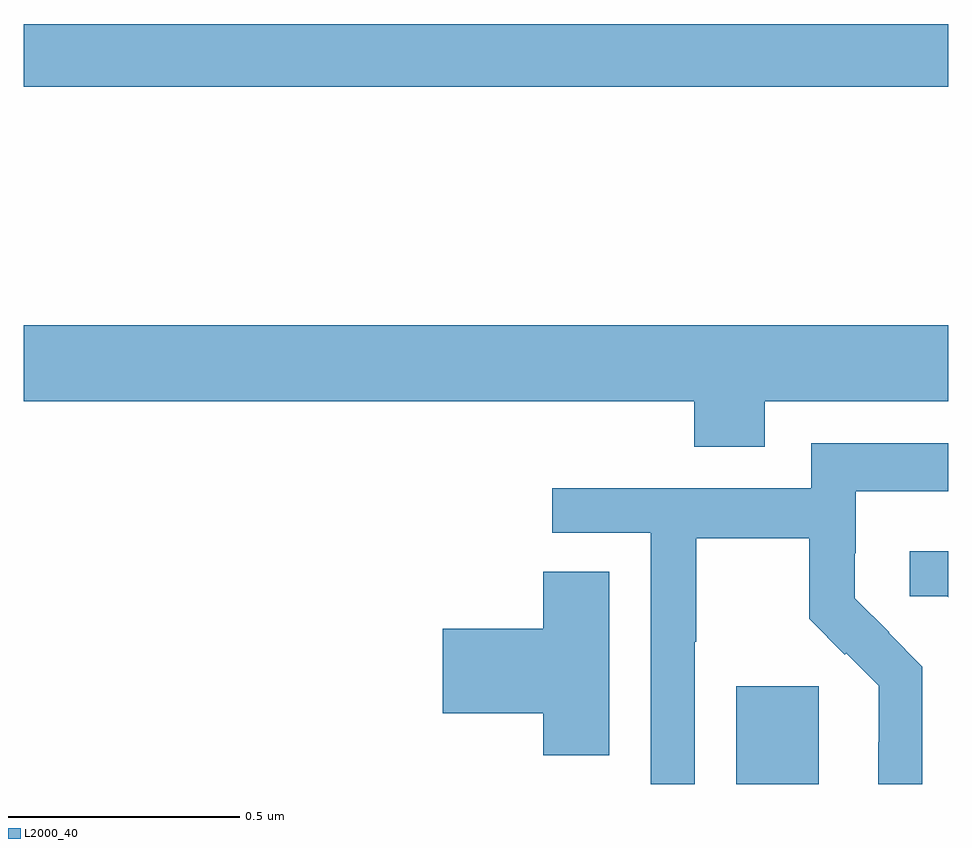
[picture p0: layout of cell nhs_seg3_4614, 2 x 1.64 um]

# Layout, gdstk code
import gdstk
lib = gdstk.Library(unit=1e-6, precision=1e-09)
def R(c, l, rs):  # rectangles x0, y0, x1, y1
    for r in rs: c.add(gdstk.rectangle(r[:2], r[2:], *l))
def P(c, l, *ps):  # polygons
    for p in ps: c.add(gdstk.Polygon(p, *l))
L2000_40 = (2000, 40)

nhs_seg3_4614 = lib.new_cell('nhs_seg3_4614')
R(nhs_seg3_4614, L2000_40, [(169.541,721.4,169.72,721.611), (168,722.908,170,723.044)])
P(nhs_seg3_4614, L2000_40, [(169.603,722.228),(170,722.228),(170,722.392),(168,722.392),(168,722.228),(169.451,722.228),(169.451,722.129),(169.603,722.129)],
  [(169.452,721.708),(169.455,721.708),(169.455,721.932),(169.699,721.932),(169.699,721.757),(169.776,721.68),(169.779,721.683),(169.85,721.613),(169.85,721.49),(169.848,721.49),(169.848,721.4),(169.944,721.4),(169.944,721.654),(169.871,721.727),(169.872,721.728),(169.798,721.802),(169.798,721.899),(169.8,721.899),(169.8,722.033),(170,722.033),(170,722.137),(169.704,722.137),(169.704,722.04),(169.143,722.04),(169.143,721.944),(169.356,721.944),(169.356,721.4),(169.452,721.4)],
  [(170,721.903),(169.917,721.903),(169.917,721.806),(169.998,721.806),(170,721.804)],
  [(169.267,721.859),(169.124,721.859),(169.124,721.736),(168.906,721.736),(168.906,721.553),(169.124,721.553),(169.124,721.462),(169.267,721.462)])

lib.write_gds('nhs_seg3_4614.gds')
